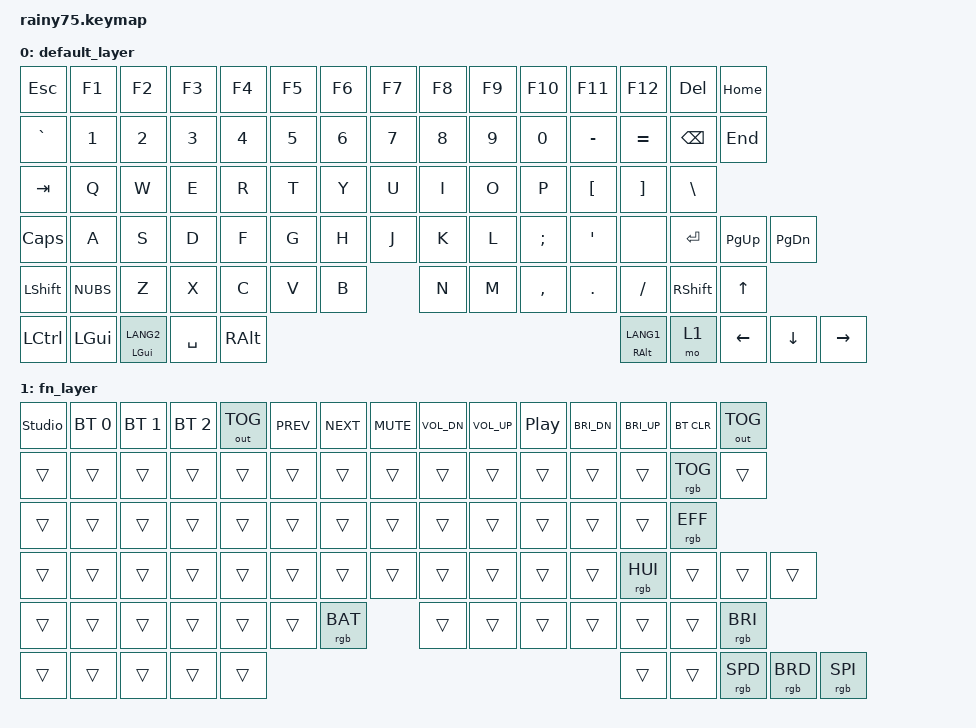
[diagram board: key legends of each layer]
#include <behaviors.dtsi>
#include <rainy_rgb.dtsi>
#include <dt-bindings/rainy_rgb.h>
#include <dt-bindings/zmk/keys.h>
#include <dt-bindings/zmk/bt.h>
#include <dt-bindings/zmk/outputs.h>

/* ── Physical layout: ISO (default) or ANSI (CONFIG_RAINY75_ANSI) ──
 * ANSI drops the ISO <> key (full-width Left-Shift) and shifts the Enter block:
 * the ISO Enter position becomes Backslash, and the ISO #~ (NUHS) position
 * becomes the wide Enter. UNVERIFIED on real ANSI hardware — see CONTRIBUTING.md. */
/* This unit is ANSI. IMPORTANT: upstream's `#ifdef CONFIG_RAINY75_ANSI` never takes
 * effect — the keymap overlay is C-preprocessed BEFORE Kconfig, so CONFIG_RAINY75_ANSI
 * is undefined here and the ISO branch (K_HASH=NUHS) was always used. That left the
 * physical wide-Enter dead (NUHS) and the backslash key acting as Enter. Hardcode the
 * ANSI layout unconditionally (verified on jaxx's unit):
 *   - end-of-QWERTY-row slot = physical BACKSLASH -> BSLH
 *   - end-of-home-row slot    = physical wide ENTER -> RET */
#define K_ENTER_TOP  &kp BSLH
#define K_HASH       &kp RET
#define K_LT_GT      &kp NUBS

/ {
	keymap {
		compatible = "zmk,keymap";

		default_layer {
			/* ISO DE 75% — Layer 0
			 * ,------+----+----+----+----+----+----+----+----+----+----+----+----+----+----.
			 * | ESC  | F1 | F2 | F3 | F4 | F5 | F6 | F7 | F8 | F9 |F10 |F11 |F12 |DEL |HOME|
			 * |------+----+----+----+----+----+----+----+----+----+----+----+----+----+----|
			 * |  `   | 1  | 2  | 3  | 4  | 5  | 6  | 7  | 8  | 9  | 0  | -  | =  |BKSP|END |
			 * |------+----+----+----+----+----+----+----+----+----+----+----+----+----+----|
			 * | TAB  | Q  | W  | E  | R  | T  | Y  | U  | I  | O  | P  | [  | ]  |ENTR|    |
			 * |------+----+----+----+----+----+----+----+----+----+----+----+----+----+----|
			 * | CAPS | A  | S  | D  | F  | G  | H  | J  | K  | L  | ;  | '  | #  |PGUP|PGDN|
			 * |------+----+----+----+----+----+----+----+----+----+----+----+----+----+----|
			 * |LSHFT | <> | Z  | X  | C  | V  | B  | N  | M  | ,  | .  | /  |RSHF| UP |    |
			 * |------+----+----+----+----+----+----+----+----+----+----+----+----+----+----|
			 * |LCTRL|LGUI|LALT|              SPACE             |RALT| Fn |RCTL|LEFT|DOWN|RGHT|
			 * `------+----+----+----+----+----+----+----+----+----+----+----+----+----+----'
			 */
			bindings = <
				&kp ESC   &kp F1   &kp F2   &kp F3  &kp F4  &kp F5  &kp F6  &kp F7  &kp F8  &kp F9    &kp F10   &kp F11   &kp F12   &kp DEL   &kp HOME
				&kp GRAVE &kp N1   &kp N2   &kp N3  &kp N4  &kp N5  &kp N6  &kp N7  &kp N8  &kp N9    &kp N0    &kp MINUS &kp EQUAL &kp BSPC  &kp END
				&kp TAB   &kp Q    &kp W    &kp E   &kp R   &kp T   &kp Y   &kp U   &kp I   &kp O     &kp P     &kp LBKT  &kp RBKT  K_ENTER_TOP
				&kp CLCK  &kp A    &kp S    &kp D   &kp F   &kp G   &kp H   &kp J   &kp K   &kp L     &kp SEMI  &kp SQT   &none   &kp RET   &kp PG_UP &kp PG_DN
				&kp LSHFT K_LT_GT  &kp Z    &kp X   &kp C   &kp V   &kp B   &kp N   &kp M   &kp COMMA &kp DOT   &kp FSLH            &kp RSHFT &kp UP
				&kp LCTRL &kp LGUI &mt LGUI LANG2                                     &kp SPACE &kp RALT &mt RALT LANG1 &mo 1           &kp LEFT  &kp DOWN  &kp RIGHT
			>;
		};

		fn_layer {
			/* Fn Layer — Layer 1
			 * Fn+F1/F2/F3 = BT profile 1/2/3
			 * Fn+F4 = Output toggle (USB/BLE)
			 * Fn+F5-F12 = Media keys
			 * Fn+ESC = Studio unlock (press to allow ZMK Studio keymap editing)
			 * Fn+Backspace = RGB toggle
			 * Fn+Enter = RGB effect cycle
			 * Fn+# = RGB hue cycle
			 * Fn+↑/↓ = RGB brightness up/down
			 * Fn+←/→ = RGB speed down/up
			 */
			bindings = <
				&studio_unlock &bt BT_SEL 0 &bt BT_SEL 1 &bt BT_SEL 2 &out OUT_TOG &kp C_PREV &kp C_NEXT &kp C_MUTE &kp C_VOL_DN &kp C_VOL_UP &kp C_PP &kp C_BRI_DN &kp C_BRI_UP &bt BT_CLR &out OUT_TOG
				&trans &trans &trans &trans &trans &trans &trans &trans &trans &trans &trans &trans &trans &rgb RGB_TOG &trans
				&trans &trans &trans &trans &trans &trans &trans &trans &trans &trans &trans &trans &trans &rgb RGB_EFF
				&trans &trans &trans &trans &trans &trans &trans &trans &trans &trans &trans &trans &rgb RGB_HUI &trans &trans &trans
				&trans &trans &trans &trans &trans &trans &rgb RGB_BAT &trans &trans &trans &trans &trans        &trans &rgb RGB_BRI
				&trans &trans &trans                                          &trans &trans &trans &trans        &rgb RGB_SPD &rgb RGB_BRD &rgb RGB_SPI
			>;
		};
	};
};
